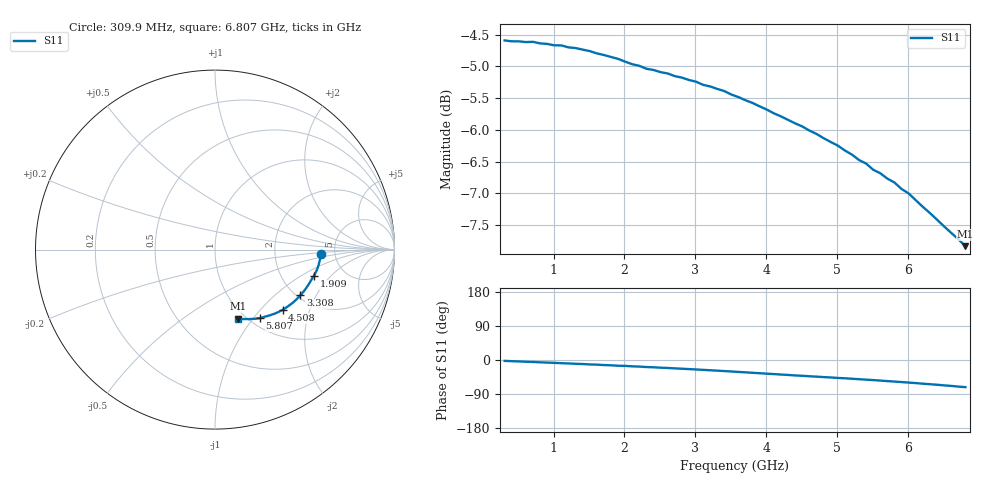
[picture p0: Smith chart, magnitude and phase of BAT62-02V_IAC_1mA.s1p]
! Infineon Technologies  Discrete & RF Semiconductors
! BAT62-02V
! IAC = 1 mA
! One-Port S-Parameters
# Hz  S  MA  R  50
!f  S11
!Hz  Mag  Ang
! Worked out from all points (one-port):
!   66 points, 309.9 MHz to 6.807 GHz, reference 50 ohm
!   lowest |S11| = -7.8 dB at 6.807 GHz (marker M1), VSWR 2.37, Z = 45.9 - j42.4 ohm
!   |S11| at or under -10 dB: nowhere
!   S11 on the Smith chart (normalised r, x): 309.9 MHz: 3.85, -0.28; 1.909 GHz: 3.01, -1.33; 3.308 GHz: 2.09, -1.50; 4.508 GHz: 1.49, -1.34; 5.807 GHz: 1.12, -1.08; 6.807 GHz: 0.92, -0.85
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3.0985e8  0.5895 -2.3
7.0965e8  0.588 -5.2
1.2094e9  0.5821 -9.1
1.30935e9  0.5814 -10.0
1.4093e9  0.5798 -10.6
1.50925e9  0.5782 -11.7
1.6092e9  0.5758 -12.3
1.70915e9  0.5741 -13.3
1.8091e9  0.5721 -14.0
1.90905e9  0.5702 -15.1
2.009e9  0.5672 -15.6
2.10895e9  0.5646 -16.7
2.2089e9  0.563 -17.4
2.30885e9  0.56 -18.6
2.4088e9  0.5587 -19.2
2.50875e9  0.5566 -20.3
2.8086e9  0.5511 -23.0
3.30835e9  0.5399 -28.1
3.6082e9  0.5319 -31.5
4.008e9  0.52 -36.1
4.4078e9  0.5072 -40.7
4.50775e9  0.5044 -41.7
5.0075e9  0.4872 -47.3
5.2074e9  0.4793 -49.5
5.8071e9  0.4556 -56.9
6.007e9  0.4467 -59.6
6.50675e9  0.4208 -67.0
6.8066e9  0.406 -71.6
